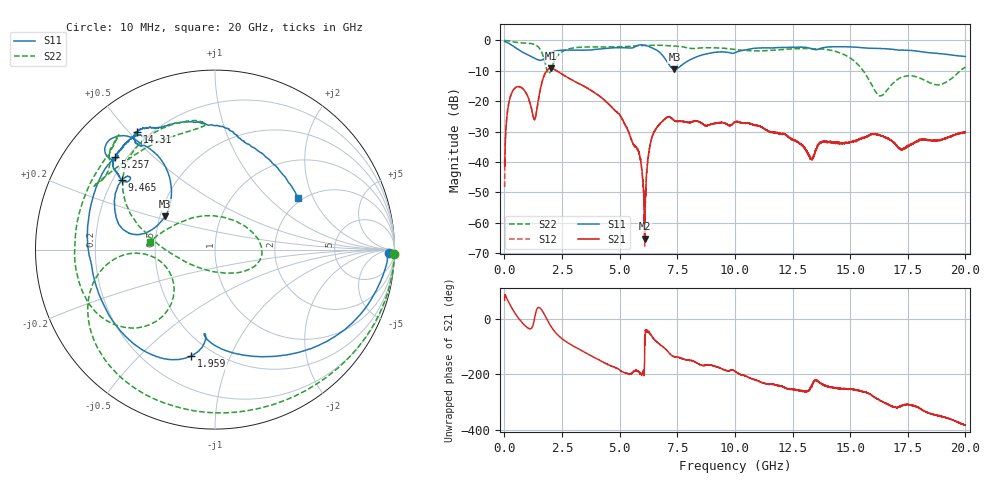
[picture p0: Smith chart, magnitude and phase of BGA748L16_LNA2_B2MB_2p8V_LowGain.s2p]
! S-Parameter file
! MATLAB S2P writer
! (c) DICE Linz
! Infineon Technologies
! Date: 08.04.2010 12:44
!BGA748L16_final_MB
!2.80V; 0.00V;
!25.00 deg
# MHZ S MA R 50
!  S11  S21  S12  S22
!  f  mag  angle  mag  angle  mag  angle  mag  angle
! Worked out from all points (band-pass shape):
!   4001 points, 10 MHz to 20 GHz, reference 50 ohm
!   highest |S21| = -9.20 dB at 2.004 GHz (marker M1); lowest = -65.3 dB at 6.082 GHz (marker M2)
!   |S21| within 3 dB of the highest: 1.693 GHz to 2.738 GHz (1.045 GHz wide, 47.2 % of centre)
!   lowest |S11| = -9.5 dB at 7.376 GHz (marker M3), VSWR 2.00, Z = 26.7 + j11.1 ohm
!   |S11| at or under -10 dB: nowhere
!   |S22| runs from -18.3 to 0.0 dB; largest |S21 - S12| = 0.0081
!   S11 on the Smith chart (normalised r, x): 10 MHz: 45, -26; 1.959 GHz: 0.39, -0.72; 5.257 GHz: 0.16, +0.38; 9.465 GHz: 0.24, +0.31; 14.31 GHz: 0.15, +0.53; 20 GHz: 1.90, +1.55
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10  0.967 -1.1  0.01065 65.8  0.003857 106.8  0.9999 -1.3
144.9325  0.9168 -16.9  0.0724 65.2  0.07271 65.1  0.9877 -17.4
344.8325  0.8246 -35.9  0.143 34.7  0.1434 34.6  0.9566 -40.1
844.5825  0.6265 -71.3  0.1539 -21.4  0.154 -21.5  0.908 -91.9
1349.33  0.5012 -95.1  0.05369 18.2  0.05402 17.5  0.8456 -142.3
1959.025  0.6071 -102.7  0.344 -19.5  0.3444 -19.6  0.2889 -144.9
2004.003  0.6245 -104.9  0.3468 -25.9  0.347 -25.8  0.3143 -136.5
3343.332  0.6924 -159.0  0.1862 -114.1  0.1858 -114.3  0.7755 -163.2
5257.375  0.7576 137.2  0.03983 166.2  0.03976 165.6  0.7933 138.8
5832.087  0.841 136.6  0.01417 169.3  0.01434 168.6  0.8224 132.0
6081.962  0.8349 131.0  0.0005422 -156.5  0.0005663 -148.9  0.8287 130.5
6336.835  0.777 126.7  0.02037 -57.1  0.02013 -56.2  0.8324 130.1
6676.665  0.6658 122.8  0.03944 -87.8  0.03943 -87.9  0.8331 131.0
7376.315  0.3334 146.4  0.04786 -136.2  0.04803 -136.3  0.8098 135.7
9465.27  0.6483 143.4  0.04427 179.1  0.04425 179.1  0.7472 149.2
10005  0.6299 143.0  0.04512 170.8  0.04529 171.6  0.7105 139.1
11734.14  0.7562 136.0  0.03099 122.8  0.03067 123.5  0.6947 94.7
13338.33  0.7295 122.1  0.01136 116.3  0.01107 120.9  0.7352 115.6
14312.84  0.7873 123.4  0.02095 113.1  0.0208 112.6  0.6679 139.3
16671.67  0.7247 100.4  0.02405 52.2  0.02385 52.0  0.1632 -52.9
17981.01  0.6628 81.1  0.02289 39.1  0.02259 40.8  0.2457 14.9
20000  0.5448 31.7  0.03096 -20.7  0.03083 -21.5  0.3644 173.6
